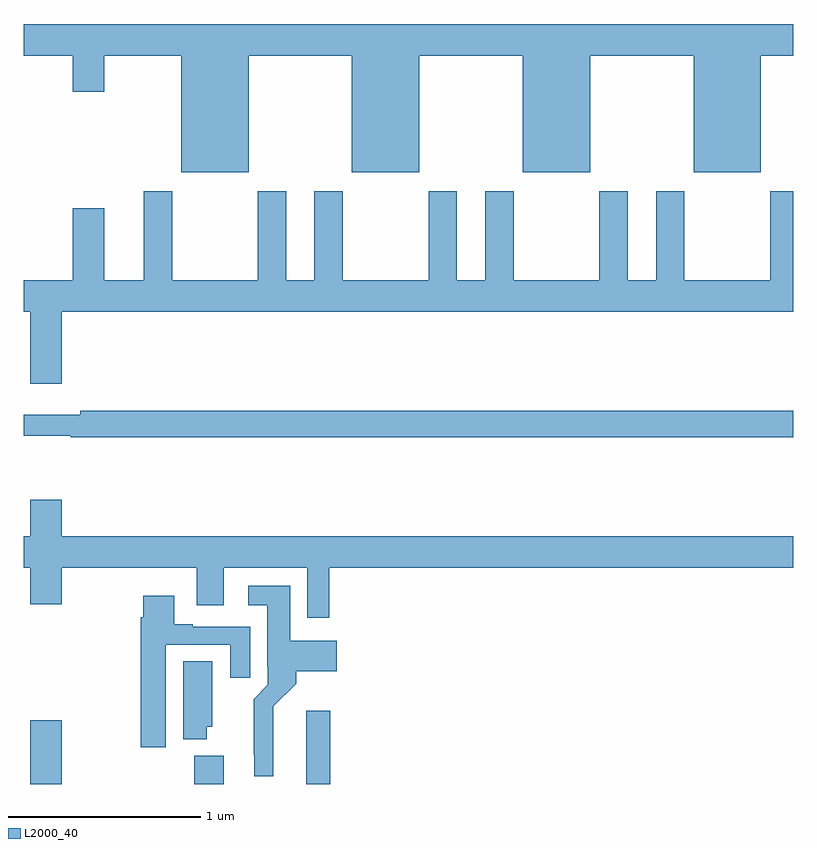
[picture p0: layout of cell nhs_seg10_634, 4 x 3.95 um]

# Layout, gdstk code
import gdstk
lib = gdstk.Library(unit=1e-6, precision=1e-09)
def R(c, l, rs):  # rectangles x0, y0, x1, y1
    for r in rs: c.add(gdstk.rectangle(r[:2], r[2:], *l))
def P(c, l, *ps):  # polygons
    for p in ps: c.add(gdstk.Polygon(p, *l))
L2000_40 = (2000, 40)

nhs_seg10_634 = lib.new_cell('nhs_seg10_634')
R(nhs_seg10_634, L2000_40, [(141.032,1324.5,141.196,1324.831), (141.887,1324.5,142.039,1324.648), (142.469,1324.5,142.592,1324.882)])
P(nhs_seg10_634, L2000_40, [(142.168,1328.288),(142.706,1328.288),(142.706,1327.682),(143.056,1327.682),(143.056,1328.288),(143.594,1328.288),(143.594,1327.682),(143.944,1327.682),(143.944,1328.288),(144.482,1328.288),(144.482,1327.682),(144.832,1327.682),(144.832,1328.288),(145,1328.288),(145,1328.452),(141,1328.452),(141,1328.288),(141.254,1328.288),(141.254,1328.1),(141.418,1328.1),(141.418,1328.288),(141.818,1328.288),(141.818,1327.682),(142.168,1327.682)],
  [(141.196,1326.956),(145,1326.956),(145,1327.582),(144.88,1327.582),(144.88,1327.12),(144.435,1327.12),(144.435,1327.582),(144.287,1327.582),(144.287,1327.12),(144.139,1327.12),(144.139,1327.582),(143.992,1327.582),(143.992,1327.12),(143.547,1327.12),(143.547,1327.582),(143.399,1327.582),(143.399,1327.12),(143.251,1327.12),(143.251,1327.582),(143.104,1327.582),(143.104,1327.12),(142.659,1327.12),(142.659,1327.582),(142.511,1327.582),(142.511,1327.12),(142.363,1327.12),(142.363,1327.582),(142.216,1327.582),(142.216,1327.12),(141.771,1327.12),(141.771,1327.582),(141.623,1327.582),(141.623,1327.12),(141.418,1327.12),(141.418,1327.495),(141.254,1327.495),(141.254,1327.12),(141,1327.12),(141,1326.956),(141.032,1326.956),(141.032,1326.582),(141.196,1326.582)],
  [(145,1326.44),(141.292,1326.44),(141.292,1326.421),(141,1326.421),(141,1326.312),(141.245,1326.312),(141.245,1326.304),(145,1326.304)],
  [(142.589,1325.624),(145,1325.624),(145,1325.788),(141.196,1325.788),(141.196,1325.977),(141.032,1325.977),(141.032,1325.788),(141,1325.788),(141,1325.624),(141.032,1325.624),(141.032,1325.436),(141.196,1325.436),(141.196,1325.624),(141.899,1325.624),(141.899,1325.43),(142.039,1325.43),(142.039,1325.624),(142.473,1325.624),(142.473,1325.364),(142.589,1325.364)],
  [(142.297,1324.904),(142.415,1325.022),(142.415,1325.087),(142.627,1325.087),(142.627,1325.245),(142.384,1325.245),(142.384,1325.53),(142.167,1325.53),(142.167,1325.429),(142.265,1325.429),(142.265,1325.11),(142.269,1325.11),(142.269,1325.016),(142.195,1324.942),(142.195,1324.651),(142.199,1324.651),(142.199,1324.541),(142.297,1324.541)],
  [(141.739,1325.223),(142.073,1325.223),(142.073,1325.052),(142.177,1325.052),(142.177,1325.319),(141.877,1325.319),(141.877,1325.332),(141.781,1325.332),(141.781,1325.479),(141.62,1325.479),(141.62,1325.366),(141.608,1325.366),(141.608,1324.692),(141.739,1324.692)],
  [(141.952,1324.797),(141.979,1324.797),(141.979,1325.138),(141.83,1325.138),(141.83,1324.733),(141.952,1324.733)])

lib.write_gds('nhs_seg10_634.gds')
